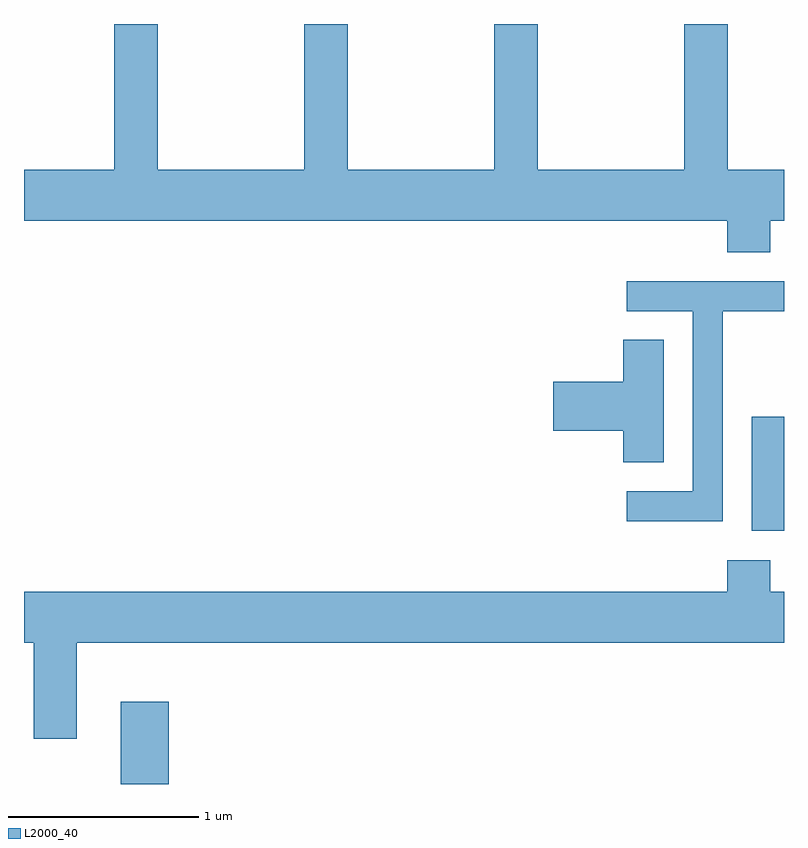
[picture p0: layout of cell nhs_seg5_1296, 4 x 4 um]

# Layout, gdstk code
import gdstk
lib = gdstk.Library(unit=1e-6, precision=1e-09)
def R(c, l, rs):  # rectangles x0, y0, x1, y1
    for r in rs: c.add(gdstk.rectangle(r[:2], r[2:], *l))
def P(c, l, *ps):  # polygons
    for p in ps: c.add(gdstk.Polygon(p, *l))
L2000_40 = (2000, 40)

nhs_seg5_1296 = lib.new_cell('nhs_seg5_1296')
R(nhs_seg5_1296, L2000_40, [(224.121,1436.072,224.374,1436.504), (227.441,1437.406,227.611,1438.004)])
P(nhs_seg5_1296, L2000_40, [(227.539,1439.036),(227.611,1439.036),(227.611,1439.304),(227.314,1439.304),(227.314,1440.072),(227.086,1440.072),(227.086,1439.304),(226.314,1439.304),(226.314,1440.072),(226.086,1440.072),(226.086,1439.304),(225.314,1439.304),(225.314,1440.072),(225.086,1440.072),(225.086,1439.304),(224.314,1439.304),(224.314,1440.072),(224.086,1440.072),(224.086,1439.304),(223.611,1439.304),(223.611,1439.036),(227.311,1439.036),(227.311,1438.871),(227.539,1438.871)],
  [(227.289,1438.561),(227.611,1438.561),(227.611,1438.719),(226.783,1438.719),(226.783,1438.561),(227.131,1438.561),(227.131,1437.614),(226.783,1437.614),(226.783,1437.456),(227.289,1437.456)],
  [(226.979,1438.409),(226.766,1438.409),(226.766,1438.189),(226.396,1438.189),(226.396,1437.931),(226.766,1437.931),(226.766,1437.766),(226.979,1437.766)],
  [(223.889,1436.816),(227.611,1436.816),(227.611,1437.084),(227.539,1437.084),(227.539,1437.249),(227.311,1437.249),(227.311,1437.084),(223.611,1437.084),(223.611,1436.816),(223.661,1436.816),(223.661,1436.311),(223.889,1436.311)])

lib.write_gds('nhs_seg5_1296.gds')
